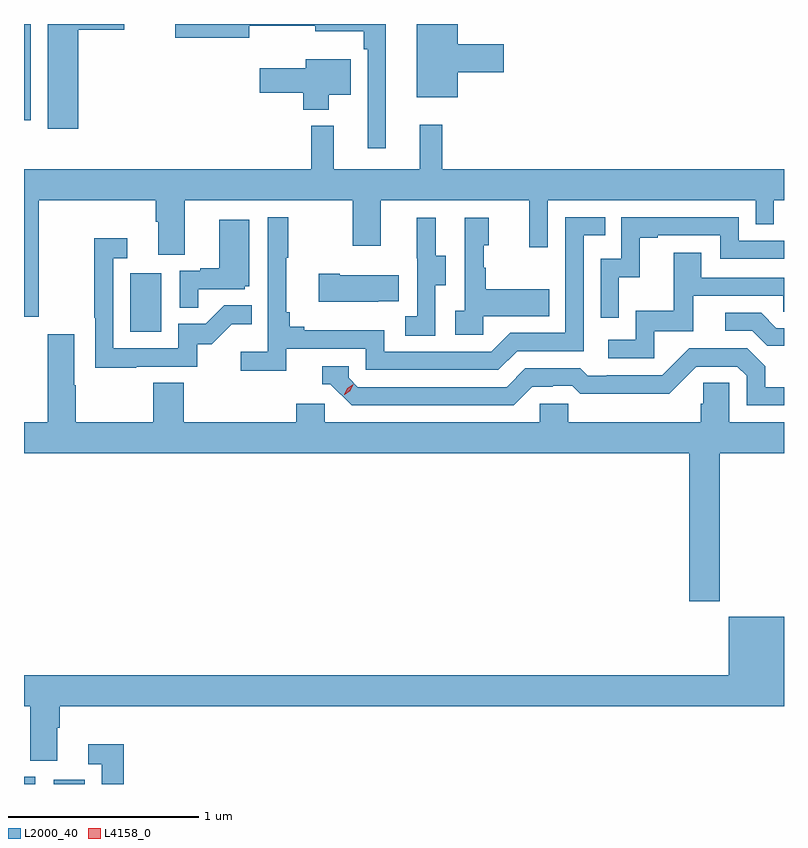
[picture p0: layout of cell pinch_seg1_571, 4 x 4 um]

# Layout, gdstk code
import gdstk
lib = gdstk.Library(unit=1e-6, precision=1e-09)
def R(c, l, rs):  # rectangles x0, y0, x1, y1
    for r in rs: c.add(gdstk.rectangle(r[:2], r[2:], *l))
def P(c, l, *ps):  # polygons
    for p in ps: c.add(gdstk.Polygon(p, *l))
L2000_40 = (2000, 40)
L4158_0 = (4158, 0)

pinch_seg1_571 = lib.new_cell('pinch_seg1_571')
R(pinch_seg1_571, L2000_40, [(1034.557,512.696,1034.616,512.733), (1034.714,512.696,1034.878,512.719), (1035.116,515.076,1035.28,515.383), (1034.557,516.19,1034.592,516.696)])
P(pinch_seg1_571, L2000_40, [(1034.842,516.665),(1035.085,516.665),(1035.085,516.696),(1034.681,516.696),(1034.681,516.144),(1034.842,516.144)],
  [(1036.84,516.443),(1037.083,516.443),(1037.083,516.59),(1036.84,516.59),(1036.84,516.696),(1036.625,516.696),(1036.625,516.311),(1036.84,516.311)],
  [(1036.462,516.696),(1035.353,516.696),(1035.353,516.623),(1035.742,516.623),(1035.742,516.688),(1036.091,516.688),(1036.091,516.659),(1036.345,516.659),(1036.345,516.563),(1036.365,516.563),(1036.365,516.042),(1036.462,516.042)],
  [(1036.162,516.323),(1036.276,516.323),(1036.276,516.511),(1036.04,516.511),(1036.04,516.463),(1035.798,516.463),(1035.798,516.334),(1036.028,516.334),(1036.028,516.245),(1036.162,516.245)],
  [(1034.635,515.768),(1035.251,515.768),(1035.251,515.656),(1035.263,515.656),(1035.263,515.482),(1035.403,515.482),(1035.403,515.768),(1036.288,515.768),(1036.288,515.529),(1036.435,515.529),(1036.435,515.768),(1037.216,515.768),(1037.216,515.52),(1037.313,515.52),(1037.313,515.768),(1038.408,515.768),(1038.408,515.641),(1038.504,515.641),(1038.504,515.768),(1038.557,515.768),(1038.557,515.932),(1036.757,515.932),(1036.757,516.166),(1036.64,516.166),(1036.64,515.932),(1036.187,515.932),(1036.187,516.16),(1036.069,516.16),(1036.069,515.932),(1034.557,515.932),(1034.557,515.154),(1034.635,515.154)],
  [(1035.938,514.986),(1036.356,514.986),(1036.356,514.875),(1037.053,514.875),(1037.152,514.974),(1037.502,514.974),(1037.502,515.583),(1037.615,515.583),(1037.615,515.679),(1037.406,515.679),(1037.406,515.07),(1037.115,515.07),(1037.016,514.971),(1036.452,514.971),(1036.452,515.083),(1036.033,515.083),(1036.033,515.102),(1035.956,515.102),(1035.956,515.179),(1035.937,515.179),(1035.937,515.467),(1035.949,515.467),(1035.949,515.68),(1035.84,515.68),(1035.84,514.972),(1035.699,514.972),(1035.699,514.87),(1035.938,514.87)],
  [(1037.688,515.363),(1037.798,515.363),(1037.798,515.571),(1037.893,515.571),(1037.893,515.583),(1038.222,515.583),(1038.222,515.46),(1038.557,515.46),(1038.557,515.556),(1038.318,515.556),(1038.318,515.679),(1037.7,515.679),(1037.7,515.46),(1037.592,515.46),(1037.592,515.151),(1037.688,515.151)],
  [(1036.974,515.159),(1037.321,515.159),(1037.321,515.299),(1036.987,515.299),(1036.987,515.414),(1036.977,515.414),(1036.977,515.532),(1037.002,515.532),(1037.002,515.677),(1036.878,515.677),(1036.878,515.186),(1036.827,515.186),(1036.827,515.061),(1036.974,515.061)],
  [(1036.722,515.32),(1036.777,515.32),(1036.777,515.475),(1036.723,515.475),(1036.723,515.677),(1036.625,515.677),(1036.625,515.463),(1036.626,515.463),(1036.626,515.159),(1036.563,515.159),(1036.563,515.056),(1036.722,515.056)],
  [(1035.473,515.301),(1035.72,515.301),(1035.72,515.316),(1035.742,515.316),(1035.742,515.665),(1035.584,515.665),(1035.584,515.41),(1035.485,515.41),(1035.485,515.397),(1035.378,515.397),(1035.378,515.203),(1035.473,515.203)],
  [(1035.149,514.893),(1035.468,514.893),(1035.468,515.01),(1035.544,515.01),(1035.651,515.117),(1035.755,515.117),(1035.755,515.216),(1035.611,515.216),(1035.513,515.118),(1035.369,515.118),(1035.369,514.989),(1035.027,514.989),(1035.027,515.463),(1035.1,515.463),(1035.1,515.569),(1034.926,515.569),(1034.926,515.149),(1034.931,515.149),(1034.931,514.888),(1035.149,514.888)],
  [(1037.874,515.079),(1038.079,515.079),(1038.079,515.265),(1038.553,515.265),(1038.553,515.181),(1038.557,515.181),(1038.557,515.361),(1038.121,515.361),(1038.121,515.491),(1037.977,515.491),(1037.977,515.188),(1037.778,515.188),(1037.778,515.034),(1037.631,515.034),(1037.631,514.938),(1037.874,514.938)],
  [(1036.421,515.237),(1036.529,515.237),(1036.529,515.374),(1036.219,515.374),(1036.219,515.382),(1036.107,515.382),(1036.107,515.234),(1036.421,515.234)],
  [(1038.557,515.094),(1038.517,515.094),(1038.436,515.175),(1038.249,515.175),(1038.249,515.082),(1038.39,515.082),(1038.47,515.002),(1038.557,515.002)],
  [(1038.219,514.436),(1038.557,514.436),(1038.557,514.6),(1038.27,514.6),(1038.27,514.808),(1038.133,514.808),(1038.133,514.698),(1038.119,514.698),(1038.119,514.6),(1037.421,514.6),(1037.421,514.698),(1037.271,514.698),(1037.271,514.6),(1036.14,514.6),(1036.14,514.698),(1035.989,514.698),(1035.989,514.6),(1035.398,514.6),(1035.398,514.808),(1035.238,514.808),(1035.238,514.6),(1034.829,514.6),(1034.829,514.796),(1034.821,514.796),(1034.821,515.062),(1034.681,515.062),(1034.681,514.6),(1034.557,514.6),(1034.557,514.436),(1038.059,514.436),(1038.059,513.657),(1038.219,513.657)],
  [(1037.233,514.788),(1037.34,514.788),(1037.34,514.791),(1037.443,514.791),(1037.485,514.749),(1037.718,514.749),(1037.718,514.751),(1037.954,514.751),(1038.096,514.893),(1038.312,514.893),(1038.36,514.845),(1038.36,514.689),(1038.557,514.689),(1038.557,514.785),(1038.457,514.785),(1038.457,514.895),(1038.363,514.989),(1038.057,514.989),(1037.916,514.848),(1037.623,514.848),(1037.623,514.845),(1037.524,514.845),(1037.485,514.884),(1037.196,514.884),(1037.097,514.785),(1036.314,514.785),(1036.266,514.833),(1036.266,514.896),(1036.127,514.896),(1036.127,514.8),(1036.17,514.8),(1036.281,514.689),(1037.134,514.689)],
  [(1034.731,512.992),(1034.744,512.992),(1034.744,513.104),(1038.557,513.104),(1038.557,513.577),(1038.266,513.577),(1038.266,513.268),(1034.557,513.268),(1034.557,513.104),(1034.591,513.104),(1034.591,512.818),(1034.731,512.818)],
  [(1035.083,512.905),(1034.895,512.905),(1034.895,512.799),(1034.967,512.799),(1034.967,512.696),(1035.083,512.696)])
P(pinch_seg1_571, L4158_0, [(1036.243,514.746),(1036.243,514.747),(1036.259,514.779),(1036.29,514.799),(1036.29,514.799),(1036.29,514.798),(1036.274,514.766),(1036.244,514.746)])

lib.write_gds('pinch_seg1_571.gds')
